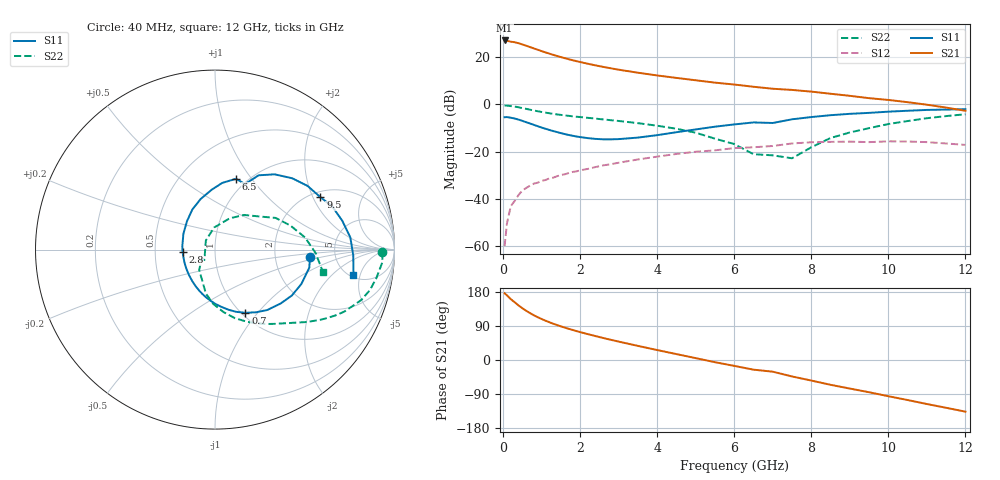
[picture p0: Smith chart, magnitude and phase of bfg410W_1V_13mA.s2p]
! Filename: 113bfg410.001
! BFG410W Field B1
! V1=8.947E-001V,V2=1.000E+000V, I1=2.241E-004A, I2=1.299E-002A
# GHz  S  MA  R 50
!  S11  S21  S12  S22
!Freq(GHz)  Mag  Ang  Mag  Ang  Mag  Ang  Mag  Ang
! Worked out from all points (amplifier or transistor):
!   44 points, 40 MHz to 12 GHz, reference 50 ohm
!   highest |S21| = 26.9 dB at 40 MHz (marker M1)
!   |S21| within 3 dB of that: start of sweep to 733.8 MHz
!   unconditionally stable (mu >= 1): start of sweep to 76.86 MHz; 1.3 GHz to end of sweep
!   at 700 MHz: K = 0.67, MSG = 29.3 dB, |S12| = -34.4 dB
!   at 2.4 GHz: K = 1.25, MAG = 18.5 dB, |S12| = -26.6 dB
!   at 12 GHz: K = 1.58, MAG = 2.7 dB, |S12| = -17.2 dB
!   S11 on the Smith chart (normalised r, x): 40 MHz: 3.22, -0.36; 700 MHz: 1.04, -0.87; 2.8 GHz: 0.69, -0.02; 6.5 GHz: 0.89, +0.85; 9.5 GHz: 2.23, +2.29; 12 GHz: 5.39, -3.89
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0.04  0.531 -4.3  22.25 176.3  0.001 60.1  0.933 -1.0
0.1  0.535 -10.8  21.9 170.7  0.003 85.6  0.935 -4.3
0.2  0.518 -21.6  20.97 160.7  0.007 78.7  0.913 -10.0
0.3  0.499 -30.8  20.43 152.4  0.009 75.5  0.892 -14.7
0.4  0.473 -39.5  19.46 144.1  0.012 71.9  0.862 -19.0
0.5  0.445 -49.2  18.34 136.7  0.015 68.3  0.827 -22.5
0.7  0.391 -64.3  16.1 123.7  0.019 63.5  0.765 -28.6
0.8  0.366 -71.3  15.09 118.1  0.021 61.9  0.736 -31.0
1  0.321 -83.7  13.25 108.2  0.024 59.2  0.685 -35.3
1.3  0.271 -100.4  11.05 95.8  0.028 56.7  0.625 -40.4
1.7  0.224 -121.3  8.951 82.4  0.035 54.2  0.568 -46.3
2.2  0.192 -146.3  7.16 68.3  0.043 50.9  0.515 -53.5
2.8  0.181 -175.9  5.733 53.3  0.054 45.8  0.459 -62.5
3.5  0.197 153.4  4.628 37.2  0.068 38.4  0.398 -73.8
4.5  0.256 119.7  3.595 15.6  0.089 25.2  0.303 -91.8
5.5  0.335 92.9  2.857 -5.8  0.106 9.7  0.187 -112.3
6.5  0.412 73.4  2.338 -25.5  0.123 -4.8  0.088 -146.4
7.5  0.48 59.6  2.004 -43.4  0.148 -17.0  0.072 135.0
8.5  0.586 42.7  1.664 -65.5  0.16 -38.7  0.193 64.8
9.5  0.656 26.4  1.342 -85.1  0.158 -57.3  0.312 36.2
10.5  0.727 12.8  1.104 -105.6  0.163 -76.8  0.441 17.7
12  0.784 -10.2  0.726 -136.3  0.138 -111.6  0.614 -11.7
